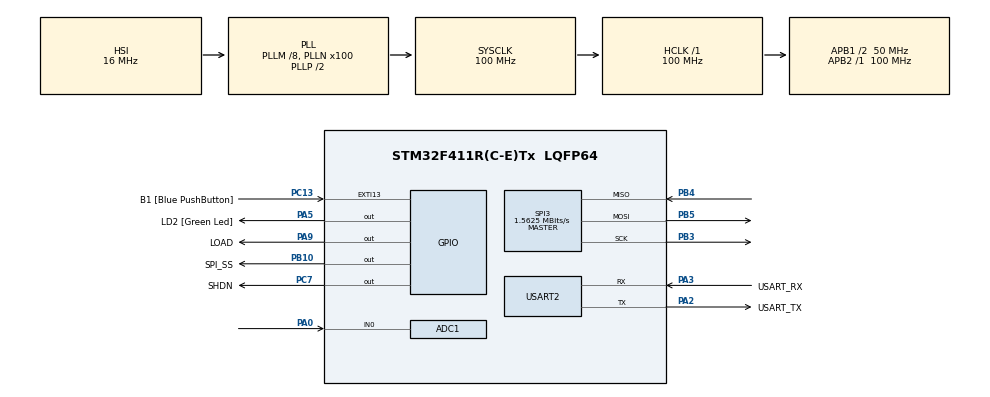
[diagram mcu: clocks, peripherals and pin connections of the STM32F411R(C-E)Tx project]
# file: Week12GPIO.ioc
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Mcu.Family=STM32F4
PB10.PinState=GPIO_PIN_SET
RCC.CortexFreq_Value=100000000
SPI3.Direction=SPI_DIRECTION_2LINES
SPI3.VirtualType=VM_MASTER
PA14.GPIO_Label=TCK
RCC.SYSCLKSource=RCC_SYSCLKSOURCE_PLLCLK
ProjectManager.StackSize=0x400
NVIC.ADC_IRQn=true\:0\:0\:false\:false\:true\:true\:true
PH0\ -\ OSC_IN.Signal=RCC_OSC_IN
RCC.HCLKFreq_Value=100000000
RCC.APB2TimFreq_Value=100000000
TIM3.Period=100
Dma.ADC1.0.Direction=DMA_PERIPH_TO_MEMORY
PC7.Signal=GPIO_Output
NVIC.DMA2_Stream0_IRQn=true\:0\:0\:false\:false\:true\:false\:true
Dma.ADC1.0.MemDataAlignment=DMA_MDATAALIGN_HALFWORD
RCC.AHBFreq_Value=100000000
SPI3.DataSize=SPI_DATASIZE_16BIT
NVIC.TIM1_TRG_COM_TIM11_IRQn=true\:0\:0\:false\:false\:true\:true\:true
RCC.HSE_VALUE=8000000
PB3.Mode=Full_Duplex_Master
ADC1.ScanConvMode=ENABLE
PC13-ANTI_TAMP.Signal=GPXTI13
PB4.Mode=Full_Duplex_Master
PC14-OSC32_IN.Mode=LSE-External-Oscillator
PA14.Mode=Serial_Wire
TIM3.Prescaler=99
Dma.ADC1.0.PeriphInc=DMA_PINC_DISABLE
PB5.Mode=Full_Duplex_Master
PC7.PinState=GPIO_PIN_SET
SH.ADCx_IN0.0=ADC1_IN0,IN0
RCC.FLatency-AdvancedSettings=FLASH_LATENCY_3
Mcu.Package=LQFP64
SPI3.Mode=SPI_MODE_MASTER
USART2.VirtualMode=VM_ASYNC
PA2.GPIO_Label=USART_TX
NVIC.SPI3_IRQn=true\:0\:0\:false\:false\:true\:true\:true
RCC.APB1TimFreq_Value=100000000
Dma.ADC1.0.FIFOMode=DMA_FIFOMODE_DISABLE
Dma.Request0=ADC1
VP_TIM3_VS_ClockSourceINT.Mode=Internal
PB4.Signal=SPI3_MISO
PA3.Signal=USART2_RX
PC15-OSC32_OUT.Mode=LSE-External-Oscillator
Dma.ADC1.0.Instance=DMA2_Stream0
PC13-ANTI_TAMP.GPIO_Label=B1 [Blue PushButton]
PA9.GPIO_Label=LOAD
PH1\ -\ OSC_OUT.Mode=HSE-External-Clock-Source
TIM11.Prescaler=99
RCC.APB1CLKDivider=RCC_HCLK_DIV2
PC14-OSC32_IN.Signal=RCC_OSC32_IN
NVIC.USART2_IRQn=true\:0\:0\:false\:false\:true\:true\:true
PA0-WKUP.Signal=ADCx_IN0
VP_TIM11_VS_ClockSourceINT.Mode=Enable_Timer
PA13.Signal=SYS_JTMS-SWDIO
PA3.Mode=Asynchronous
Dma.ADC1.0.PeriphDataAlignment=DMA_PDATAALIGN_HALFWORD
PH0\ -\ OSC_IN.Mode=HSE-External-Clock-Source
ProjectManager.TargetToolchain=STM32CubeIDE
PB10.GPIO_Label=SPI_SS
Dma.ADC1.0.Mode=DMA_CIRCULAR
Dma.ADC1.0.Priority=DMA_PRIORITY_LOW
PA9.Signal=GPIO_Output
PA9.PinState=GPIO_PIN_SET
PC15-OSC32_OUT.Signal=RCC_OSC32_OUT
PB10.Signal=GPIO_Output
PA5.Signal=GPIO_Output
PH1\ -\ OSC_OUT.Signal=RCC_OSC_OUT
board=NUCLEO-F411RE
RCC.VCOOutputFreq_Value=200000000
RCC.APB2Freq_Value=100000000
SPI3.CalculateBaudRate=1.5625 MBits/s
SPI3.BaudRatePrescaler=SPI_BAUDRATEPRESCALER_32
ADC1.DMAContinuousRequests=ENABLE
PA13.Mode=Serial_Wire
Mcu.Name=STM32F411R(C-E)Tx
PA2.Signal=USART2_TX
PA13.GPIO_Label=TMS
ADC1.ExternalTrigConv=ADC_EXTERNALTRIGCONV_T3_TRGO
PC7.GPIO_Label=SHDN
RCC.48MHZClocksFreq_Value=50000000
PB3.Signal=SPI3_SCK
RCC.SYSCLKFreq_VALUE=100000000
PB5.Signal=SPI3_MOSI
ADC1.master=1
PA5.GPIO_Label=LD2 [Green Led]
PC13-ANTI_TAMP.GPIO_ModeDefaultEXTI=GPIO_MODE_IT_FALLING
PA14.Signal=SYS_JTCK-SWCLK
Dma.ADC1.0.MemInc=DMA_MINC_ENABLE
ProjectManager.HeapSize=0x200
RCC.HSI_VALUE=16000000
NVIC.PriorityGroup=NVIC_PRIORITYGROUP_0
ADC1.NbrOfConversionFlag=1
RCC.PLLM=8
RCC.PLLN=100
PA2.Mode=Asynchronous
TIM3.TIM_MasterOutputTrigger=TIM_TRGO_UPDATE
RCC.APB1Freq_Value=50000000
PA3.GPIO_Label=USART_RX

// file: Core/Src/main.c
/* USER CODE BEGIN Header */
/**
 ******************************************************************************
 * @file           : main.c
 * @brief          : Main program body
 ******************************************************************************
 * @attention
 *
 * <h2><center>&copy; Copyright (c) 2021 STMicroelectronics.
 * All rights reserved.</center></h2>
 *
 * This software component is licensed by ST under BSD 3-Clause license,
 * the "License"; You may not use this file except in compliance with the
 * License. You may obtain a copy of the License at:
 *                        opensource.org/licenses/BSD-3-Clause
 *
 ******************************************************************************
 */
/* USER CODE END Header */
#include "main.h"

/* USER CODE BEGIN Includes */
#include "math.h"
#include <stdio.h>
#include <string.h>
/* USER CODE END Includes */

ADC_HandleTypeDef hadc1;
DMA_HandleTypeDef hdma_adc1;

SPI_HandleTypeDef hspi3;

TIM_HandleTypeDef htim3;
TIM_HandleTypeDef htim11;

UART_HandleTypeDef huart2;

/* USER CODE BEGIN PV */
int run = 0;
int mode = 0;

//SIN
float SIN_Freq = 0;
float SIN_Amplitude = 0;
float SIN_High = 3.3;
float SIN_Low = 0;

//Ramp
float SAW_Freq = 0;
int SAW_mode = 0;
float SAW_Amplitude = 0;
float SAW_High = 3.3;
float SAW_Low = 0;

//Square
float SQR_Freq = 0;
int duty_cycle = 50;
int SQR_mode = 0;
float SQR_High = 3.3;
float SQR_Low = 0;

uint16_t ADCin = 0;
float VADCin = 0;
uint64_t _micro = 0;
float dataOut = 0;
uint16_t uintdataOut = 0;
uint8_t DACConfig = 0b0011;

enum System
{
	System_Start,
	System_Main_Print,
	System_Main_input,
	System_SIN_Print,
	System_SIN_input,
	System_Ramp_Print,
	System_Ramp_input,
	System_Sqr_Print,
	System_Sqr_input
};

char TxDataBuffer[100] =
{ 0 };
char RxDataBuffer[32] =
{ 0 };
uint8_t System_State = System_Start;

/* USER CODE END PV */

void SystemClock_Config(void);
static void MX_GPIO_Init(void);
static void MX_DMA_Init(void);
static void MX_USART2_UART_Init(void);
static void MX_ADC1_Init(void);
static void MX_SPI3_Init(void);
static void MX_TIM3_Init(void);
static void MX_TIM11_Init(void);
/* USER CODE BEGIN PFP */
void MCP4922SetOutput(uint8_t Config, uint16_t DACOutput);
uint64_t micros();
int16_t UARTRecieveIT();
/* USER CODE END PFP */

int main(void)
{

  /* MCU Configuration--------------------------------------------------------*/

  /* Reset of all peripherals, Initializes the Flash interface and the Systick. */
  HAL_Init();

  /* Configure the system clock */
  SystemClock_Config();

  /* Initialize all configured peripherals */
  MX_GPIO_Init();
  MX_DMA_Init();
  MX_USART2_UART_Init();
  MX_ADC1_Init();
  MX_SPI3_Init();
  MX_TIM3_Init();
  MX_TIM11_Init();
  /* USER CODE BEGIN 2 */
	HAL_TIM_Base_Start(&htim3);
	HAL_TIM_Base_Start_IT(&htim11);
	HAL_ADC_Start_DMA(&hadc1, (uint32_t*) &ADCin, 1);

	HAL_GPIO_WritePin(LOAD_GPIO_Port, LOAD_Pin, GPIO_PIN_RESET);
	{
	char temp[]="\r\n\r\nHELLO WORLD\r\n please type something to test System\r\n\r\n\r\n";
	HAL_UART_Transmit(&huart2, (uint8_t*)temp, strlen(temp),10);
	}
  /* USER CODE END 2 */

  /* Infinite loop */
  /* USER CODE BEGIN WHILE */
	while (1)
	{
//		Variable
		static uint64_t timestamp = 0;
		static uint64_t Graphtimestamp = 0;

//		IT init
		HAL_UART_Receive_IT(&huart2,  (uint8_t*)RxDataBuffer, 32);

//		IT 1 char
		int16_t inputchar = UARTRecieveIT();
		if(inputchar!=-1)
		{
			char TxDataBuffer[100] = { 0 };
			sprintf(TxDataBuffer, "\r\nReceivedChar:[%c]\r\n", inputchar);
			HAL_UART_Transmit(&huart2, (uint8_t*)TxDataBuffer, strlen(TxDataBuffer), 1000);
		}

//		State
		char TxDataBuffer[100] = { 0 };

		switch(System_State)
		{
			case System_Start:
				System_State = System_Main_Print;
				run = 1;
				break;

////////////////////////////////////////////////////////////////////////////////////////////////////////////////////////////////////////////////////////////////////////////////////////////////////////////////////////////////////////////////

			case System_Main_Print:
				sprintf(TxDataBuffer, ":MainMenu: \r\n a. Sine wave configuration \r\n s. Ramp wave configuration \r\n d. Square wave configuration \r\n\r\n\r\n");
				HAL_UART_Transmit(&huart2, (uint8_t*)TxDataBuffer, strlen(TxDataBuffer), 1000);
				System_State = System_Main_input;
				break;
			case System_Main_input:
				switch(inputchar)
				{
				case 'a':
					System_State = System_SIN_Print;
					mode = 1;
					run = 0;

					SIN_Freq = 0;
					SIN_Amplitude = 0;
					SIN_High = 3.3;
					SIN_Low = 0;

					Graphtimestamp = micros();
					break;
				case 's':
					System_State = System_Ramp_Print;
					mode = 2;
					run = 0;

					SAW_Freq = 0;
					SAW_mode = 0;
					SAW_High = 3.3;
					SAW_Low = 0;

					break;
				case 'd':
					System_State = System_Sqr_Print;
					mode = 3;
					run = 0;

					SQR_Freq = 0;
					duty_cycle = 50;
					SQR_mode = 0;
					SQR_High = 3.3;
					SQR_Low = 0;

					Graphtimestamp = micros();
					break;
				case -1:
					break;
				default:
					sprintf(TxDataBuffer, "Please press the correct button \r\n");
					HAL_UART_Transmit(&huart2, (uint8_t*)TxDataBuffer, strlen(TxDataBuffer), 1000);
					System_State = System_Main_Print;
					break;
				}
				break;

////////////////////////////////////////////////////////////////////////////////////////////////////////////////////////////////////////////////////////////////////////////////////////////////////////////////////////////////////////////////

			case System_SIN_Print:
				sprintf(TxDataBuffer, ":SINMenu: \r\n a. + 0.1 Hz       s. - 0.1 Hz \r\n d. High + 0.1 V   z. High - 0.1 V \r\n x. Low + 0.1 V    c. Low - 0.1 V \r\n w. On/Off         q. Back \r\n\r\n\r\n");
				HAL_UART_Transmit(&huart2, (uint8_t*)TxDataBuffer, strlen(TxDataBuffer), 1000);
				System_State = System_SIN_input;
				break;
			case System_SIN_input:
				switch(inputchar)
				{
				case 'a':
					Graphtimestamp = micros();
					if(SIN_Freq + 0.1 <= 10)
					{
						SIN_Freq += 0.1;
//						char TxDataBuffer[100] = { 0 };
//						sprintf(TxDataBuffer, "Frequency is %d Hz \r\n" , LED_Frequency);
//						HAL_UART_Transmit(&huart2, (uint8_t*)TxDataBuffer, strlen(TxDataBuffer), 1000);
					}
					else
					{
						char TxDataBuffer[100] = { 0 };
						sprintf(TxDataBuffer, "Frequency is at Maximum \r\n");
						HAL_UART_Transmit(&huart2, (uint8_t*)TxDataBuffer, strlen(TxDataBuffer), 1000);
					}
					System_State = System_SIN_Print;
					break;
				case 's':
					Graphtimestamp = micros();
					if(SIN_Freq - 0.1 >= 0)
					{
						SIN_Freq -= 0.1;
//						char TxDataBuffer[100] = { 0 };
//						sprintf(TxDataBuffer, "Frequency is %d Hz \r\n" , LED_Frequency);
//						HAL_UART_Transmit(&huart2, (uint8_t*)TxDataBuffer, strlen(TxDataBuffer), 1000);
					}
					else
					{
						char TxDataBuffer[100] = { 0 };
						sprintf(TxDataBuffer, "Frequency is at Minimum \r\n");
						HAL_UART_Transmit(&huart2, (uint8_t*)TxDataBuffer, strlen(TxDataBuffer), 1000);
					}
					System_State = System_SIN_Print;
					break;
				case 'd':
					if(SIN_High + 0.1 <= 3.3)
					{
						SIN_High += 0.1;
//						char TxDataBuffer[100] = { 0 };
//						sprintf(TxDataBuffer, "Frequency is %d Hz \r\n" , LED_Frequency);
//						HAL_UART_Transmit(&huart2, (uint8_t*)TxDataBuffer, strlen(TxDataBuffer), 1000);
					}
					else
					{
						char TxDataBuffer[100] = { 0 };
						sprintf(TxDataBuffer, "Voltage High is at Maximum \r\n");
						HAL_UART_Transmit(&huart2, (uint8_t*)TxDataBuffer, strlen(TxDataBuffer), 1000);
					}
					System_State = System_SIN_Print;
					break;
				case 'z':
					if(SIN_High - 0.1 >= SIN_Low)
					{
						SIN_High -= 0.1;
//						char TxDataBuffer[100] = { 0 };
//						sprintf(TxDataBuffer, "Frequency is %d Hz \r\n" , LED_Frequency);
//						HAL_UART_Transmit(&huart2, (uint8_t*)TxDataBuffer, strlen(TxDataBuffer), 1000);
					}
					else
					{
						char TxDataBuffer[100] = { 0 };
						sprintf(TxDataBuffer, "Voltage High is at Voltage Low \r\n");
						HAL_UART_Transmit(&huart2, (uint8_t*)TxDataBuffer, strlen(TxDataBuffer), 1000);
					}
					System_State = System_SIN_Print;
					break;
				case 'x':
					if(SIN_Low + 0.1 <= SIN_High)
					{
						SIN_Low += 0.1;
//						char TxDataBuffer[100] = { 0 };
//						sprintf(TxDataBuffer, "Frequency is %d Hz \r\n" , LED_Frequency);
//						HAL_UART_Transmit(&huart2, (uint8_t*)TxDataBuffer, strlen(TxDataBuffer), 1000);
					}
					else
					{
						char TxDataBuffer[100] = { 0 };
						sprintf(TxDataBuffer, "Voltage Low is at Voltage High \r\n");
						HAL_UART_Transmit(&huart2, (uint8_t*)TxDataBuffer, strlen(TxDataBuffer), 1000);
					}
					System_State = System_SIN_Print;
					break;
				case 'c':
					if(SIN_Low - 0.1 >= 0)
					{
						SIN_Low -= 0.1;
//						char TxDataBuffer[100] = { 0 };
//						sprintf(TxDataBuffer, "Frequency is %d Hz \r\n" , LED_Frequency);
//						HAL_UART_Transmit(&huart2, (uint8_t*)TxDataBuffer, strlen(TxDataBuffer), 1000);
					}
					else
					{
						char TxDataBuffer[100] = { 0 };
						sprintf(TxDataBuffer, "Voltage Low is at Minimum \r\n");
						HAL_UART_Transmit(&huart2, (uint8_t*)TxDataBuffer, strlen(TxDataBuffer), 1000);
					}
					System_State = System_SIN_Print;
					break;
				case 'w':
					if(run == 1)
					{
						run = 0;
						char TxDataBuffer[100] = { 0 };
						sprintf(TxDataBuffer, "Turning wave off\r\n");
						HAL_UART_Transmit(&huart2, (uint8_t*)TxDataBuffer, strlen(TxDataBuffer), 1000);
						System_State = System_SIN_Print;
					}
					else if(run == 0)
					{
						run = 1;
						char TxDataBuffer[100] = { 0 };
						sprintf(TxDataBuffer, "Turning wave on\r\n");
						HAL_UART_Transmit(&huart2, (uint8_t*)TxDataBuffer, strlen(TxDataBuffer), 1000);
						System_State = System_SIN_Print;
					}
					break;
				case 'q':
					System_State = System_Main_Print;
					mode = 0;
					run = 0;
					break;
				case -1:
					break;
				default:
					sprintf(TxDataBuffer, "Please press the correct button \r\n");
					HAL_UART_Transmit(&huart2, (uint8_t*)TxDataBuffer, strlen(TxDataBuffer), 1000);
					System_State = System_SIN_Print;
					break;
				}
				break;

////////////////////////////////////////////////////////////////////////////////////////////////////////////////////////////////////////////////////////////////////////////////////////////////////////////////////////////////////////////////

			case System_Ramp_Print:
				sprintf(TxDataBuffer, ":RampMenu: \r\n a. + 0.1 Hz       s. - 0.1 Hz \r\n d. High + 0.1 V   z. High - 0.1 V \r\n x. Low + 0.1 V    c. Low - 0.1 V \r\n e. Ramp Style \r\n w. On/Off         q. Back \r\n\r\n\r\n");
				HAL_UART_Transmit(&huart2, (uint8_t*)TxDataBuffer, strlen(TxDataBuffer), 1000);
				System_State = System_Ramp_input;
				break;
			case System_Ramp_input:
				switch(inputchar)
				{
				case 'a':
					if(SAW_Freq + 0.1 <= 10)
					{
						SAW_Freq += 0.1;
//						char TxDataBuffer[100] = { 0 };
//						sprintf(TxDataBuffer, "Frequency is %d Hz \r\n" , LED_Frequency);
//						HAL_UART_Transmit(&huart2, (uint8_t*)TxDataBuffer, strlen(TxDataBuffer), 1000);
					}
					else
					{
						char TxDataBuffer[100] = { 0 };
						sprintf(TxDataBuffer, "Frequency is at Maximum \r\n");
						HAL_UART_Transmit(&huart2, (uint8_t*)TxDataBuffer, strlen(TxDataBuffer), 1000);
					}
					System_State = System_Ramp_Print;
					break;
				case 's':
					if(SAW_Freq - 0.1 >= 0)
					{
						SAW_Freq -= 0.1;
//						char TxDataBuffer[100] = { 0 };
//						sprintf(TxDataBuffer, "Frequency is %d Hz \r\n" , LED_Frequency);
//						HAL_UART_Transmit(&huart2, (uint8_t*)TxDataBuffer, strlen(TxDataBuffer), 1000);
					}
					else
					{
						char TxDataBuffer[100] = { 0 };
						sprintf(TxDataBuffer, "Frequency is at Minimum \r\n");
						HAL_UART_Transmit(&huart2, (uint8_t*)TxDataBuffer, strlen(TxDataBuffer), 1000);
					}
					System_State = System_Ramp_Print;
					break;
				case 'd':
					if(SAW_High + 0.1 <= 3.3)
					{
						SAW_High += 0.1;
//						char TxDataBuffer[100] = { 0 };
//						sprintf(TxDataBuffer, "Frequency is %d Hz \r\n" , LED_Frequency);
//						HAL_UART_Transmit(&huart2, (uint8_t*)TxDataBuffer, strlen(TxDataBuffer), 1000);
					}
					else
					{
						char TxDataBuffer[100] = { 0 };
						sprintf(TxDataBuffer, "Voltage High is at Maximum \r\n");
						HAL_UART_Transmit(&huart2, (uint8_t*)TxDataBuffer, strlen(TxDataBuffer), 1000);
					}
					System_State = System_Ramp_Print;
					break;
				case 'z':
					if(SAW_High - 0.1 >= SAW_Low)
					{
						SAW_High -= 0.1;
//						char TxDataBuffer[100] = { 0 };
//						sprintf(TxDataBuffer, "Frequency is %d Hz \r\n" , LED_Frequency);
//						HAL_UART_Transmit(&huart2, (uint8_t*)TxDataBuffer, strlen(TxDataBuffer), 1000);
					}
					else
					{
						char TxDataBuffer[100] = { 0 };
						sprintf(TxDataBuffer, "Voltage High is at Voltage Low \r\n");
						HAL_UART_Transmit(&huart2, (uint8_t*)TxDataBuffer, strlen(TxDataBuffer), 1000);
					}
					System_State = System_Ramp_Print;
					break;
				case 'x':
					if(SAW_Low + 0.1 <= SAW_High)
					{
						SAW_Low += 0.1;
//						char TxDataBuffer[100] = { 0 };
//						sprintf(TxDataBuffer, "Frequency is %d Hz \r\n" , LED_Frequency);
//						HAL_UART_Transmit(&huart2, (uint8_t*)TxDataBuffer, strlen(TxDataBuffer), 1000);
					}
					else
					{
						char TxDataBuffer[100] = { 0 };
						sprintf(TxDataBuffer, "Voltage Low is at Voltage High \r\n");
						HAL_UART_Transmit(&huart2, (uint8_t*)TxDataBuffer, strlen(TxDataBuffer), 1000);
					}
					System_State = System_Ramp_Print;
					break;
				case 'c':
					if(SAW_Low - 0.1 >= 0)
					{
						SAW_Low -= 0.1;
//						char TxDataBuffer[100] = { 0 };
//						sprintf(TxDataBuffer, "Frequency is %d Hz \r\n" , LED_Frequency);
//						HAL_UART_Transmit(&huart2, (uint8_t*)TxDataBuffer, strlen(TxDataBuffer), 1000);
					}
					else
					{
						char TxDataBuffer[100] = { 0 };
						sprintf(TxDataBuffer, "Voltage Low is at Minimum \r\n");
						HAL_UART_Transmit(&huart2, (uint8_t*)TxDataBuffer, strlen(TxDataBuffer), 1000);
					}
					System_State = System_Ramp_Print;
					break;
				case 'e':
					if(SAW_mode == 1)
					{
						SAW_mode = 0;
						char TxDataBuffer[100] = { 0 };
						sprintf(TxDataBuffer, "Forward ramp\r\n");
						HAL_UART_Transmit(&huart2, (uint8_t*)TxDataBuffer, strlen(TxDataBuffer), 1000);
						System_State = System_Ramp_Print;
					}
					else if(SAW_mode == 0)
					{
						SAW_mode = 1;
						char TxDataBuffer[100] = { 0 };
						sprintf(TxDataBuffer, "Backward ramp\r\n");
						HAL_UART_Transmit(&huart2, (uint8_t*)TxDataBuffer, strlen(TxDataBuffer), 1000);
						System_State = System_Ramp_Print;
					}
					break;
				case 'w':
					if(run == 1)
					{
						run = 0;
						char TxDataBuffer[100] = { 0 };
						sprintf(TxDataBuffer, "Turning wave off\r\n");
						HAL_UART_Transmit(&huart2, (uint8_t*)TxDataBuffer, strlen(TxDataBuffer), 1000);
						System_State = System_Ramp_Print;
					}
					else if(run == 0)
					{
						run = 1;
						char TxDataBuffer[100] = { 0 };
						sprintf(TxDataBuffer, "Turning wave on\r\n");
						HAL_UART_Transmit(&huart2, (uint8_t*)TxDataBuffer, strlen(TxDataBuffer), 1000);
						System_State = System_Ramp_Print;
					}
					break;
				case 'q':
					System_State = System_Main_Print;
					mode = 0;
					run = 0;
					break;
				case -1:
					break;
				default:
					sprintf(TxDataBuffer, "Please press the correct button \r\n");
					HAL_UART_Transmit(&huart2, (uint8_t*)TxDataBuffer, strlen(TxDataBuffer), 1000);
					System_State = System_Ramp_Print;
					break;
				}
				break;

////////////////////////////////////////////////////////////////////////////////////////////////////////////////////////////////////////////////////////////////////////////////////////////////////////////////////////////////////////////////

			case System_Sqr_Print:
				sprintf(TxDataBuffer, ":SquareMenu: \r\n a. + 0.1 Hz       s. - 0.1 Hz \r\n d. High + 0.1 V   z. High - 0.1 V \r\n x. Low + 0.1 V    c. Low - 0.1 V \r\n e. Duty + 5       r. Duty - 5 \r\n w. On/Off         q. Back \r\n\r\n\r\n");
				HAL_UART_Transmit(&huart2, (uint8_t*)TxDataBuffer, strlen(TxDataBuffer), 1000);
				System_State = System_Sqr_input;
				break;
			case System_Sqr_input:
				switch(inputchar)
				{
				case 'a':
					Graphtimestamp = micros();
					SQR_mode = 0;
					if(SQR_Freq + 0.1 <= 10)
					{
						SQR_Freq += 0.1;
//						char TxDataBuffer[100] = { 0 };
//						sprintf(TxDataBuffer, "Frequency is %d Hz \r\n" , LED_Frequency);
//						HAL_UART_Transmit(&huart2, (uint8_t*)TxDataBuffer, strlen(TxDataBuffer), 1000);
					}
					else
					{
						char TxDataBuffer[100] = { 0 };
						sprintf(TxDataBuffer, "Frequency is at Maximum \r\n");
						HAL_UART_Transmit(&huart2, (uint8_t*)TxDataBuffer, strlen(TxDataBuffer), 1000);
					}
					System_State = System_Sqr_Print;
					break;
				case 's':
					Graphtimestamp = micros();
					SQR_mode = 0;
					if(SQR_Freq - 0.1 >= 0)
					{
						SQR_Freq -= 0.1;
//						char TxDataBuffer[100] = { 0 };
//						sprintf(TxDataBuffer, "Frequency is %d Hz \r\n" , LED_Frequency);
//						HAL_UART_Transmit(&huart2, (uint8_t*)TxDataBuffer, strlen(TxDataBuffer), 1000);
					}
					else
					{
						char TxDataBuffer[100] = { 0 };
						sprintf(TxDataBuffer, "Frequency is at Minimum \r\n");
						HAL_UART_Transmit(&huart2, (uint8_t*)TxDataBuffer, strlen(TxDataBuffer), 1000);
					}
					System_State = System_Sqr_Print;
					break;
				case 'd':
					if(SQR_High + 0.1 <= 3.3)
					{
						SQR_High += 0.1;
//						char TxDataBuffer[100] = { 0 };
//						sprintf(TxDataBuffer, "Frequency is %d Hz \r\n" , LED_Frequency);
//						HAL_UART_Transmit(&huart2, (uint8_t*)TxDataBuffer, strlen(TxDataBuffer), 1000);
					}
					else
					{
						char TxDataBuffer[100] = { 0 };
						sprintf(TxDataBuffer, "Voltage High is at Maximum \r\n");
						HAL_UART_Transmit(&huart2, (uint8_t*)TxDataBuffer, strlen(TxDataBuffer), 1000);
					}
					System_State = System_Sqr_Print;
					break;
				case 'z':
					if(SQR_High - 0.1 >= SQR_Low)
					{
						SQR_High -= 0.1;
//						char TxDataBuffer[100] = { 0 };
//						sprintf(TxDataBuffer, "Frequency is %d Hz \r\n" , LED_Frequency);
//						HAL_UART_Transmit(&huart2, (uint8_t*)TxDataBuffer, strlen(TxDataBuffer), 1000);
					}
					else
					{
						char TxDataBuffer[100] = { 0 };
						sprintf(TxDataBuffer, "Voltage High is at Voltage Low \r\n");
						HAL_UART_Transmit(&huart2, (uint8_t*)TxDataBuffer, strlen(TxDataBuffer), 1000);
					}
					System_State = System_Sqr_Print;
					break;
				case 'x':
					if(SQR_Low + 0.1 <= SQR_High)
					{
						SQR_Low += 0.1;
//						char TxDataBuffer[100] = { 0 };
//						sprintf(TxDataBuffer, "Frequency is %d Hz \r\n" , LED_Frequency);
//						HAL_UART_Transmit(&huart2, (uint8_t*)TxDataBuffer, strlen(TxDataBuffer), 1000);
					}
					else
					{
						char TxDataBuffer[100] = { 0 };
						sprintf(TxDataBuffer, "Voltage Low is at Voltage High \r\n");
						HAL_UART_Transmit(&huart2, (uint8_t*)TxDataBuffer, strlen(TxDataBuffer), 1000);
					}
					System_State = System_Sqr_Print;
					break;
				case 'c':
					if(SQR_Low - 0.1 >= 0)
					{
						SQR_Low -= 0.1;
//						char TxDataBuffer[100] = { 0 };
//						sprintf(TxDataBuffer, "Frequency is %d Hz \r\n" , LED_Frequency);
//						HAL_UART_Transmit(&huart2, (uint8_t*)TxDataBuffer, strlen(TxDataBuffer), 1000);
					}
					else
					{
						char TxDataBuffer[100] = { 0 };
						sprintf(TxDataBuffer, "Voltage Low is at Minimum \r\n");
						HAL_UART_Transmit(&huart2, (uint8_t*)TxDataBuffer, strlen(TxDataBuffer), 1000);
					}
					System_State = System_Sqr_Print;
					break;
				case 'e':
					if(duty_cycle + 5 <= 100)
					{
						duty_cycle += 5;
//						char TxDataBuffer[100] = { 0 };
//						sprintf(TxDataBuffer, "Frequency is %d Hz \r\n" , LED_Frequency);
//						HAL_UART_Transmit(&huart2, (uint8_t*)TxDataBuffer, strlen(TxDataBuffer), 1000);
					}
					else
					{
						char TxDataBuffer[100] = { 0 };
						sprintf(TxDataBuffer, "Duty cycle is at Maximum \r\n");
						HAL_UART_Transmit(&huart2, (uint8_t*)TxDataBuffer, strlen(TxDataBuffer), 1000);
					}
					System_State = System_Sqr_Print;
					break;
				case 'r':
					if(duty_cycle - 5 >= 0)
					{
						duty_cycle -= 5;
//						char TxDataBuffer[100] = { 0 };
//						sprintf(TxDataBuffer, "Frequency is %d Hz \r\n" , LED_Frequency);
//						HAL_UART_Transmit(&huart2, (uint8_t*)TxDataBuffer, strlen(TxDataBuffer), 1000);
					}
					else
					{
						char TxDataBuffer[100] = { 0 };
						sprintf(TxDataBuffer, "Duty cycle is at Minimum \r\n");
						HAL_UART_Transmit(&huart2, (uint8_t*)TxDataBuffer, strlen(TxDataBuffer), 1000);
					}
					System_State = System_Sqr_Print;
					break;
				case 'w':
					if(run == 1)
					{
						run = 0;
						char TxDataBuffer[100] = { 0 };
						sprintf(TxDataBuffer, "Turning wave off\r\n");
						HAL_UART_Transmit(&huart2, (uint8_t*)TxDataBuffer, strlen(TxDataBuffer), 1000);
						System_State = System_Sqr_Print;
					}
					else if(run == 0)
					{
						run = 1;
						char TxDataBuffer[100] = { 0 };
						sprintf(TxDataBuffer, "Turning wave on\r\n");
						HAL_UART_Transmit(&huart2, (uint8_t*)TxDataBuffer, strlen(TxDataBuffer), 1000);
						System_State = System_Sqr_Print;
					}
					break;
				case 'q':
					System_State = System_Main_Print;
					mode = 0;
					run = 0;
					break;
				case -1:
					break;
				default:
					sprintf(TxDataBuffer, "Please press the correct button \r\n");
					HAL_UART_Transmit(&huart2, (uint8_t*)TxDataBuffer, strlen(TxDataBuffer), 1000);
					System_State = System_Sqr_Print;
					break;
				}
				break;

		}

//		run
		if (micros() - timestamp > 1000)
		{
			timestamp = micros();
			if(run == 1)
			{
				if(mode == 1)
				{
					SIN_Amplitude = (((SIN_High - SIN_Low)/3.3)*4095.0)/2.0;
//					SinFunction
					if(SIN_Freq <= 0.1)
					{
//						dataOut = (SIN_Amplitude + ((SIN_Low/3.3)*4095.0));
						uintdataOut = dataOut;
					}
					else
					{
						dataOut = SIN_Amplitude*sin(2*M_PI*SIN_Freq*((micros() - Graphtimestamp)/1000000.0));
						dataOut += (SIN_Amplitude + ((SIN_Low/3.3)*4095.0));
						uintdataOut = dataOut;
					}
				}
				else if(mode == 2)
				{
					SAW_Amplitude = ((SAW_High-SAW_Low)/3.3)*4095;
//					Ramp
					if(SAW_Freq <= 0.1)
					{
//						dataOut = ((SAW_Low/3.3)*4095.0) + (SAW_Amplitude/2.0);
						uintdataOut = dataOut;

					}
					else
					{
						if(SAW_mode == 0)
						{
							dataOut += (SAW_Amplitude / (1/SAW_Freq)) * 0.001;
							if(dataOut >= ((SAW_High/3.3)*4095.0))
							{
								dataOut = ((SAW_High/3.3)*4095.0);
								uintdataOut = dataOut;
								dataOut = ((SAW_Low/3.3)*4095.0) - ((SAW_Amplitude / (1/SAW_Freq)) * 0.001);
							}
							else
							{
								uintdataOut = dataOut;
							}
						}
						else if(SAW_mode == 1)
						{
							dataOut -= (SAW_Amplitude / (1/SAW_Freq)) * 0.001;
							if(dataOut <= ((SAW_Low/3.3)*4095.0))
							{
								dataOut = ((SAW_Low/3.3)*4095.0);
								uintdataOut = dataOut;
								dataOut = ((SAW_High/3.3)*4095.0) + ((SAW_Amplitude / (1/SAW_Freq)) * 0.001);
							}
							else
							{
								uintdataOut = dataOut;
							}
						}
					}
				}
				else if(mode == 3)
				{
//					Square
					if(SQR_Freq < 0.1)
					{
//						dataOut = 0;
						uintdataOut = dataOut;
					}
					else
					{
						if(duty_cycle == 0)
						{
							dataOut = ((SQR_Low/3.3)*4095.0);
							uintdataOut = dataOut;
						}
						else if(duty_cycle == 100)
						{
							dataOut = ((SQR_High/3.3)*4095.0);
							uintdataOut = dataOut;
						}
						else if(micros() - Graphtimestamp >= ((duty_cycle/100.0)*(1/SQR_Freq))*1000000 && SQR_mode == 1)
						{
							Graphtimestamp = micros();
							dataOut = ((SQR_Low/3.3)*4095.0);
							uintdataOut = dataOut;
							SQR_mode = 0;

						}
						else if(micros() - Graphtimestamp >= (((100 - duty_cycle)/100.0)*(1/SQR_Freq))*1000000 && SQR_mode == 0)
						{
							Graphtimestamp = micros();
							dataOut = ((SQR_High/3.3)*4095.0);
							uintdataOut = dataOut;
							SQR_mode = 1;
						}
					}
				}
			}
			else
			{
				dataOut = 0;
				uintdataOut = dataOut;
			}
			if (hspi3.State == HAL_SPI_STATE_READY
					&& HAL_GPIO_ReadPin(SPI_SS_GPIO_Port, SPI_SS_Pin)
							== GPIO_PIN_SET)
			{
				MCP4922SetOutput(DACConfig, uintdataOut);
			}
		}
		VADCin = (ADCin)*(3.3/4095.0);
    /* USER CODE END WHILE */

	}
}

void SystemClock_Config(void)
{
  RCC_OscInitTypeDef RCC_OscInitStruct = {0};
  RCC_ClkInitTypeDef RCC_ClkInitStruct = {0};

  /** Configure the main internal regulator output voltage
  */
  __HAL_RCC_PWR_CLK_ENABLE();
  __HAL_PWR_VOLTAGESCALING_CONFIG(PWR_REGULATOR_VOLTAGE_SCALE1);
  /** Initializes the RCC Oscillators according to the specified parameters
  * in the RCC_OscInitTypeDef structure.
  */
  RCC_OscInitStruct.OscillatorType = RCC_OSCILLATORTYPE_HSI;
  RCC_OscInitStruct.HSIState = RCC_HSI_ON;
  RCC_OscInitStruct.HSICalibrationValue = RCC_HSICALIBRATION_DEFAULT;
  RCC_OscInitStruct.PLL.PLLState = RCC_PLL_ON;
  RCC_OscInitStruct.PLL.PLLSource = RCC_PLLSOURCE_HSI;
  RCC_OscInitStruct.PLL.PLLM = 8;
  RCC_OscInitStruct.PLL.PLLN = 100;
  RCC_OscInitStruct.PLL.PLLP = RCC_PLLP_DIV2;
  RCC_OscInitStruct.PLL.PLLQ = 4;
  if (HAL_RCC_OscConfig(&RCC_OscInitStruct) != HAL_OK)
  {
    Error_Handler();
  }
  /** Initializes the CPU, AHB and APB buses clocks
  */
  RCC_ClkInitStruct.ClockType = RCC_CLOCKTYPE_HCLK|RCC_CLOCKTYPE_SYSCLK
                              |RCC_CLOCKTYPE_PCLK1|RCC_CLOCKTYPE_PCLK2;
  RCC_ClkInitStruct.SYSCLKSource = RCC_SYSCLKSOURCE_PLLCLK;
  RCC_ClkInitStruct.AHBCLKDivider = RCC_SYSCLK_DIV1;
  RCC_ClkInitStruct.APB1CLKDivider = RCC_HCLK_DIV2;
  RCC_ClkInitStruct.APB2CLKDivider = RCC_HCLK_DIV1;

  if (HAL_RCC_ClockConfig(&RCC_ClkInitStruct, FLASH_LATENCY_3) != HAL_OK)
  {
    Error_Handler();
  }
}

static void MX_ADC1_Init(void)
{

  /** Configure the global features of the ADC (Clock, Resolution, Data Alignment and number of conversion)
  */
  hadc1.Instance = ADC1;
  hadc1.Init.ClockPrescaler = ADC_CLOCK_SYNC_PCLK_DIV4;
  hadc1.Init.Resolution = ADC_RESOLUTION_12B;
  hadc1.Init.ScanConvMode = ENABLE;
  hadc1.Init.ContinuousConvMode = DISABLE;
  hadc1.Init.DiscontinuousConvMode = DISABLE;
  hadc1.Init.ExternalTrigConvEdge = ADC_EXTERNALTRIGCONVEDGE_RISING;
  hadc1.Init.ExternalTrigConv = ADC_EXTERNALTRIGCONV_T3_TRGO;
  hadc1.Init.DataAlign = ADC_DATAALIGN_RIGHT;
  hadc1.Init.NbrOfConversion = 1;
  hadc1.Init.DMAContinuousRequests = ENABLE;
  hadc1.Init.EOCSelection = ADC_EOC_SINGLE_CONV;
  if (HAL_ADC_Init(&hadc1) != HAL_OK)
  {
    Error_Handler();
  }

}

static void MX_SPI3_Init(void)
{

  /* SPI3 parameter configuration*/
  hspi3.Instance = SPI3;
  hspi3.Init.Mode = SPI_MODE_MASTER;
  hspi3.Init.Direction = SPI_DIRECTION_2LINES;
  hspi3.Init.DataSize = SPI_DATASIZE_16BIT;
  hspi3.Init.CLKPolarity = SPI_POLARITY_LOW;
  hspi3.Init.CLKPhase = SPI_PHASE_1EDGE;
  hspi3.Init.NSS = SPI_NSS_SOFT;
  hspi3.Init.BaudRatePrescaler = SPI_BAUDRATEPRESCALER_32;
  hspi3.Init.FirstBit = SPI_FIRSTBIT_MSB;
  hspi3.Init.TIMode = SPI_TIMODE_DISABLE;
  hspi3.Init.CRCCalculation = SPI_CRCCALCULATION_DISABLE;
  hspi3.Init.CRCPolynomial = 10;
  if (HAL_SPI_Init(&hspi3) != HAL_OK)
  {
    Error_Handler();
  }

}

static void MX_TIM3_Init(void)
{

  TIM_ClockConfigTypeDef sClockSourceConfig = {0};
  TIM_MasterConfigTypeDef sMasterConfig = {0};

  htim3.Instance = TIM3;
  htim3.Init.Prescaler = 99;
  htim3.Init.CounterMode = TIM_COUNTERMODE_UP;
  htim3.Init.Period = 100;
  htim3.Init.ClockDivision = TIM_CLOCKDIVISION_DIV1;
  htim3.Init.AutoReloadPreload = TIM_AUTORELOAD_PRELOAD_DISABLE;
  if (HAL_TIM_Base_Init(&htim3) != HAL_OK)
  {
    Error_Handler();
  }
  sClockSourceConfig.ClockSource = TIM_CLOCKSOURCE_INTERNAL;
  if (HAL_TIM_ConfigClockSource(&htim3, &sClockSourceConfig) != HAL_OK)
  {
    Error_Handler();
  }
  sMasterConfig.MasterOutputTrigger = TIM_TRGO_UPDATE;
  sMasterConfig.MasterSlaveMode = TIM_MASTERSLAVEMODE_DISABLE;
  if (HAL_TIMEx_MasterConfigSynchronization(&htim3, &sMasterConfig) != HAL_OK)
  {
    Error_Handler();
  }

}

static void MX_TIM11_Init(void)
{

  htim11.Instance = TIM11;
  htim11.Init.Prescaler = 99;
  htim11.Init.CounterMode = TIM_COUNTERMODE_UP;
  htim11.Init.Period = 65535;
  htim11.Init.ClockDivision = TIM_CLOCKDIVISION_DIV1;
  htim11.Init.AutoReloadPreload = TIM_AUTORELOAD_PRELOAD_DISABLE;
  if (HAL_TIM_Base_Init(&htim11) != HAL_OK)
  {
    Error_Handler();
  }

}

static void MX_USART2_UART_Init(void)
{

  huart2.Instance = USART2;
  huart2.Init.BaudRate = 115200;
  huart2.Init.WordLength = UART_WORDLENGTH_8B;
  huart2.Init.StopBits = UART_STOPBITS_1;
  huart2.Init.Parity = UART_PARITY_NONE;
  huart2.Init.Mode = UART_MODE_TX_RX;
  huart2.Init.HwFlowCtl = UART_HWCONTROL_NONE;
  huart2.Init.OverSampling = UART_OVERSAMPLING_16;
  if (HAL_UART_Init(&huart2) != HAL_OK)
  {
    Error_Handler();
  }

}

static void MX_DMA_Init(void)
{

  /* DMA controller clock enable */
  __HAL_RCC_DMA2_CLK_ENABLE();

  /* DMA interrupt init */
  /* DMA2_Stream0_IRQn interrupt configuration */
  HAL_NVIC_SetPriority(DMA2_Stream0_IRQn, 0, 0);
  HAL_NVIC_EnableIRQ(DMA2_Stream0_IRQn);

}

static void MX_GPIO_Init(void)
{
  GPIO_InitTypeDef GPIO_InitStruct = {0};

  /* GPIO Ports Clock Enable */
  __HAL_RCC_GPIOC_CLK_ENABLE();
  __HAL_RCC_GPIOH_CLK_ENABLE();
  __HAL_RCC_GPIOA_CLK_ENABLE();
  __HAL_RCC_GPIOB_CLK_ENABLE();

  /*Configure GPIO pin Output Level */
  HAL_GPIO_WritePin(LD2_GPIO_Port, LD2_Pin, GPIO_PIN_RESET);

  /*Configure GPIO pin Output Level */
  HAL_GPIO_WritePin(SPI_SS_GPIO_Port, SPI_SS_Pin, GPIO_PIN_SET);

  /*Configure GPIO pin Output Level */
  HAL_GPIO_WritePin(SHDN_GPIO_Port, SHDN_Pin, GPIO_PIN_SET);

  /*Configure GPIO pin Output Level */
  HAL_GPIO_WritePin(LOAD_GPIO_Port, LOAD_Pin, GPIO_PIN_SET);

  /*Configure GPIO pin : B1_Pin */
  GPIO_InitStruct.Pin = B1_Pin;
  GPIO_InitStruct.Mode = GPIO_MODE_IT_FALLING;
  GPIO_InitStruct.Pull = GPIO_NOPULL;
  HAL_GPIO_Init(B1_GPIO_Port, &GPIO_InitStruct);

  /*Configure GPIO pins : LD2_Pin LOAD_Pin */
  GPIO_InitStruct.Pin = LD2_Pin|LOAD_Pin;
  GPIO_InitStruct.Mode = GPIO_MODE_OUTPUT_PP;
  GPIO_InitStruct.Pull = GPIO_NOPULL;
  GPIO_InitStruct.Speed = GPIO_SPEED_FREQ_LOW;
  HAL_GPIO_Init(GPIOA, &GPIO_InitStruct);

  /*Configure GPIO pin : SPI_SS_Pin */
  GPIO_InitStruct.Pin = SPI_SS_Pin;
  GPIO_InitStruct.Mode = GPIO_MODE_OUTPUT_PP;
  GPIO_InitStruct.Pull = GPIO_NOPULL;
  GPIO_InitStruct.Speed = GPIO_SPEED_FREQ_LOW;
  HAL_GPIO_Init(SPI_SS_GPIO_Port, &GPIO_InitStruct);

  /*Configure GPIO pin : SHDN_Pin */
  GPIO_InitStruct.Pin = SHDN_Pin;
  GPIO_InitStruct.Mode = GPIO_MODE_OUTPUT_PP;
  GPIO_InitStruct.Pull = GPIO_NOPULL;
  GPIO_InitStruct.Speed = GPIO_SPEED_FREQ_LOW;
  HAL_GPIO_Init(SHDN_GPIO_Port, &GPIO_InitStruct);

}

/* USER CODE BEGIN 4 */
void MCP4922SetOutput(uint8_t Config, uint16_t DACOutput)
{
	uint32_t OutputPacket = (DACOutput & 0x0fff) | ((Config & 0xf) << 12);
	HAL_GPIO_WritePin(SPI_SS_GPIO_Port, SPI_SS_Pin, GPIO_PIN_RESET);
	HAL_SPI_Transmit_IT(&hspi3, &OutputPacket, 1);
}

void HAL_SPI_TxCpltCallback(SPI_HandleTypeDef *hspi)
{
	if (hspi == &hspi3)
	{
		HAL_GPIO_WritePin(SPI_SS_GPIO_Port, SPI_SS_Pin, GPIO_PIN_SET);
	}
}

void HAL_TIM_PeriodElapsedCallback(TIM_HandleTypeDef *htim)
{
	if (htim == &htim11)
	{
		_micro += 65535;
	}
}

inline uint64_t micros()
{
	return htim11.Instance->CNT + _micro;
}

int16_t UARTRecieveIT()
{
	static uint32_t dataPos =0;
	int16_t data=-1;
	if(huart2.RxXferSize - huart2.RxXferCount!=dataPos)
	{
		data=RxDataBuffer[dataPos];
		dataPos= (dataPos+1)%huart2.RxXferSize;
	}
	return data;
}
/* USER CODE END 4 */

void Error_Handler(void)
{
	__disable_irq();
	while (1)
	{
	}
}

/************************ (C) COPYRIGHT STMicroelectronics *****END OF FILE****/
